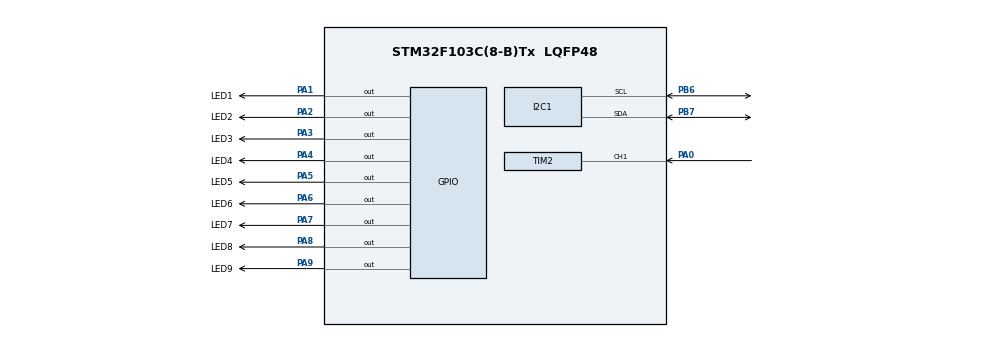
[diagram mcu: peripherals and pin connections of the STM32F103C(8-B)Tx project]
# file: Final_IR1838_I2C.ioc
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Mcu.Family=STM32F1
Mcu.Name=STM32F103C(8-B)Tx
Mcu.Package=LQFP48
NVIC.I2C1_ER_IRQn=true\:0\:0\:false\:false\:true\:true\:true\:true
NVIC.I2C1_EV_IRQn=true\:0\:0\:false\:false\:true\:true\:true\:true
NVIC.PriorityGroup=NVIC_PRIORITYGROUP_4
NVIC.TIM2_IRQn=true\:0\:0\:false\:false\:true\:true\:true\:true
PA0-WKUP.Signal=S_TIM2_CH1_ETR
PA1.GPIO_Label=LED1
PA1.Signal=GPIO_Output
PA13.Mode=Serial_Wire
PA13.Signal=SYS_JTMS-SWDIO
PA14.Mode=Serial_Wire
PA14.Signal=SYS_JTCK-SWCLK
PA2.GPIO_Label=LED2
PA2.Signal=GPIO_Output
PA3.GPIO_Label=LED3
PA3.Signal=GPIO_Output
PA4.GPIO_Label=LED4
PA4.GPIO_Speed=GPIO_SPEED_FREQ_LOW
PA4.Signal=GPIO_Output
PA5.GPIO_Label=LED5
PA5.Signal=GPIO_Output
PA6.GPIO_Label=LED6
PA6.Signal=GPIO_Output
PA7.GPIO_Label=LED7
PA7.Signal=GPIO_Output
PA8.GPIO_Label=LED8
PA8.Signal=GPIO_Output
PA9.GPIO_Label=LED9
PA9.Signal=GPIO_Output
PB6.Mode=I2C
PB6.Signal=I2C1_SCL
PB7.Mode=I2C
PB7.Signal=I2C1_SDA
PD0-OSC_IN.Mode=HSE-External-Oscillator
PD0-OSC_IN.Signal=RCC_OSC_IN
PD1-OSC_OUT.Mode=HSE-External-Oscillator
PD1-OSC_OUT.Signal=RCC_OSC_OUT
ProjectManager.HeapSize=0x200
ProjectManager.StackSize=0x400
ProjectManager.TargetToolchain=MDK-ARM V5.32
RCC.APB1Freq_Value=8000000
RCC.APB2Freq_Value=8000000
SH.S_TIM2_CH1_ETR.0=TIM2_CH1,Input_Capture1_from_TI1
TIM2.Channel-Input_Capture1_from_TI1=TIM_CHANNEL_1
TIM2.ICPolarity_CH1=TIM_INPUTCHANNELPOLARITY_FALLING
TIM2.Prescaler=799
board=custom

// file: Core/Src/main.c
/* USER CODE BEGIN Header */
/**
  ******************************************************************************
  * @file           : main.c
  * @brief          : Main program body
  ******************************************************************************
  * @attention
  *
  * Copyright (c) 2025 STMicroelectronics.
  * All rights reserved.
  *
  * This software is licensed under terms that can be found in the LICENSE file
  * in the root directory of this software component.
  * If no LICENSE file comes with this software, it is provided AS-IS.
  *
  ******************************************************************************
  */
/* USER CODE END Header */
#include "main.h"

/* USER CODE BEGIN Includes */
#include "CLCD_I2C.h"
#include <stdio.h>
#include <string.h>
/* USER CODE END Includes */

I2C_HandleTypeDef hi2c1;

TIM_HandleTypeDef htim2;

/* USER CODE BEGIN PV */
CLCD_I2C_Name LCD1;
uint8_t key_pre =0;
uint8_t key = 0;
char LCD_send;
char status[10];
/* USER CODE END PV */

void SystemClock_Config(void);
static void MX_GPIO_Init(void);
static void MX_I2C1_Init(void);
static void MX_TIM2_Init(void);
/* USER CODE BEGIN PFP */
#define START_MIN_TIME 130
#define START_MAX_TIME 140
#define COMMAND        17

volatile uint16_t time_pre = 0;
volatile uint16_t time_current = 0;
volatile uint16_t period = 0;
volatile uint8_t count = 0;
volatile uint32_t bit = 0;
volatile uint32_t hex_ir = 0;
/* USER CODE END PFP */

int main(void)
{

  /* MCU Configuration--------------------------------------------------------*/

  /* Reset of all peripherals, Initializes the Flash interface and the Systick. */
  HAL_Init();

  /* Configure the system clock */
  SystemClock_Config();

  /* Initialize all configured peripherals */
  MX_GPIO_Init();
  MX_I2C1_Init();
  MX_TIM2_Init();
  /* USER CODE BEGIN 2 */
HAL_TIM_IC_Start_IT(&htim2, TIM_CHANNEL_1);

CLCD_I2C_Init(&LCD1, &hi2c1, 0x4e, 20, 4);
CLCD_I2C_SetCursor(&LCD1, 0, 0);
CLCD_I2C_WriteString(&LCD1, "Diep Van Du");
  /* USER CODE END 2 */

  /* Infinite loop */
  while (1)
  {

    /* USER CODE BEGIN 3 */
	  //CLCD_I2C_Clear(&LCD1);
		CLCD_I2C_SetCursor(&LCD1, 0, 1);
		if(hex_ir != 0){
		  switch(hex_ir){
			   case 33448350: key = 1; break;
			   case 33436110: key = 2; break;
         case 33486090: key = 3; break;
			   case 33432030: key = 4; break;
			   case 33452430: key = 5; break;
			   case 33469770: key = 6; break;
			   case 33457530: key = 7; break;
			   case 33461610: key = 8; break;
			   case 33465690: key = 9; break;
			   case 33509550: if(key_pre < 9) key = key_pre + 1; break;
			   case 33538110: if(key_pre > 0) key = key_pre - 1; break;
				 case 33424890: key = 10; break;//next
				 case 33441210: key = 11; break;//prev
			   default: key = 0; break;
		}
		key_pre = key;
		static uint8_t last_key = 255;
    if (key != last_key)
    {
        last_key = key;
        CLCD_I2C_SetCursor(&LCD1,0, 1);
			  sprintf(&LCD_send, "%d", key);
        CLCD_I2C_WriteChar(&LCD1, LCD_send);
    }
		//HAL_Delay(200);
		hex_ir = 0;
 }

		//----------------------------------------------------------------------//
	if(key ==0 ){
	  HAL_GPIO_WritePin(LED1_GPIO_Port,LED1_Pin,GPIO_PIN_SET);
		HAL_GPIO_WritePin(LED2_GPIO_Port,LED2_Pin,GPIO_PIN_SET);
		HAL_GPIO_WritePin(LED3_GPIO_Port,LED3_Pin,GPIO_PIN_SET);
		HAL_GPIO_WritePin(LED4_GPIO_Port,LED4_Pin,GPIO_PIN_SET);
		HAL_GPIO_WritePin(LED5_GPIO_Port,LED5_Pin,GPIO_PIN_SET);
		HAL_GPIO_WritePin(LED6_GPIO_Port,LED6_Pin,GPIO_PIN_SET);
		HAL_GPIO_WritePin(LED7_GPIO_Port,LED7_Pin,GPIO_PIN_SET);
		HAL_GPIO_WritePin(LED8_GPIO_Port,LED8_Pin,GPIO_PIN_SET);
		HAL_GPIO_WritePin(LED9_GPIO_Port,LED9_Pin,GPIO_PIN_SET);
 }
 else{
	 if(key ==1){
		 HAL_GPIO_TogglePin(LED1_GPIO_Port,LED1_Pin);
	   HAL_Delay(100);
		 HAL_GPIO_WritePin(LED2_GPIO_Port,LED2_Pin,GPIO_PIN_SET);
		 HAL_GPIO_WritePin(LED3_GPIO_Port,LED3_Pin,GPIO_PIN_SET);
		 HAL_GPIO_WritePin(LED4_GPIO_Port,LED4_Pin,GPIO_PIN_SET);
		 HAL_GPIO_WritePin(LED5_GPIO_Port,LED5_Pin,GPIO_PIN_SET);
		 HAL_GPIO_WritePin(LED6_GPIO_Port,LED6_Pin,GPIO_PIN_SET);
		 HAL_GPIO_WritePin(LED7_GPIO_Port,LED7_Pin,GPIO_PIN_SET);
		 HAL_GPIO_WritePin(LED8_GPIO_Port,LED8_Pin,GPIO_PIN_SET);
		 HAL_GPIO_WritePin(LED9_GPIO_Port,LED9_Pin,GPIO_PIN_SET);
	 }
	 if(key ==2){
		 HAL_GPIO_TogglePin(LED2_GPIO_Port,LED2_Pin);
	   HAL_Delay(100);
		 HAL_GPIO_WritePin(LED1_GPIO_Port,LED1_Pin,GPIO_PIN_SET);
		 HAL_GPIO_WritePin(LED3_GPIO_Port,LED3_Pin,GPIO_PIN_SET);
		 HAL_GPIO_WritePin(LED4_GPIO_Port,LED4_Pin,GPIO_PIN_SET);
		 HAL_GPIO_WritePin(LED5_GPIO_Port,LED5_Pin,GPIO_PIN_SET);
		 HAL_GPIO_WritePin(LED6_GPIO_Port,LED6_Pin,GPIO_PIN_SET);
		 HAL_GPIO_WritePin(LED7_GPIO_Port,LED7_Pin,GPIO_PIN_SET);
		 HAL_GPIO_WritePin(LED8_GPIO_Port,LED8_Pin,GPIO_PIN_SET);
		 HAL_GPIO_WritePin(LED9_GPIO_Port,LED9_Pin,GPIO_PIN_SET);
	 }
	 if(key ==3){
		 HAL_GPIO_TogglePin(LED3_GPIO_Port,LED3_Pin);
	   HAL_Delay(100);
		 HAL_GPIO_WritePin(LED1_GPIO_Port,LED1_Pin,GPIO_PIN_SET);
		 HAL_GPIO_WritePin(LED2_GPIO_Port,LED2_Pin,GPIO_PIN_SET);
		 HAL_GPIO_WritePin(LED4_GPIO_Port,LED4_Pin,GPIO_PIN_SET);
		 HAL_GPIO_WritePin(LED5_GPIO_Port,LED5_Pin,GPIO_PIN_SET);
		 HAL_GPIO_WritePin(LED6_GPIO_Port,LED6_Pin,GPIO_PIN_SET);
		 HAL_GPIO_WritePin(LED7_GPIO_Port,LED7_Pin,GPIO_PIN_SET);
		 HAL_GPIO_WritePin(LED8_GPIO_Port,LED8_Pin,GPIO_PIN_SET);
		 HAL_GPIO_WritePin(LED9_GPIO_Port,LED9_Pin,GPIO_PIN_SET);
	 }
	 if(key ==4){
		 HAL_GPIO_TogglePin(LED4_GPIO_Port,LED4_Pin);
	   HAL_Delay(100);
		 HAL_GPIO_WritePin(LED1_GPIO_Port,LED1_Pin,GPIO_PIN_SET);
		 HAL_GPIO_WritePin(LED2_GPIO_Port,LED2_Pin,GPIO_PIN_SET);
		 HAL_GPIO_WritePin(LED3_GPIO_Port,LED3_Pin,GPIO_PIN_SET);
		 HAL_GPIO_WritePin(LED5_GPIO_Port,LED5_Pin,GPIO_PIN_SET);
		 HAL_GPIO_WritePin(LED6_GPIO_Port,LED6_Pin,GPIO_PIN_SET);
		 HAL_GPIO_WritePin(LED7_GPIO_Port,LED7_Pin,GPIO_PIN_SET);
		 HAL_GPIO_WritePin(LED8_GPIO_Port,LED8_Pin,GPIO_PIN_SET);
		 HAL_GPIO_WritePin(LED9_GPIO_Port,LED9_Pin,GPIO_PIN_SET);
	 }
	 if(key ==5){
		 HAL_GPIO_TogglePin(LED5_GPIO_Port,LED5_Pin);
	   HAL_Delay(100);
		 HAL_GPIO_WritePin(LED1_GPIO_Port,LED1_Pin,GPIO_PIN_SET);
		 HAL_GPIO_WritePin(LED2_GPIO_Port,LED2_Pin,GPIO_PIN_SET);
		 HAL_GPIO_WritePin(LED3_GPIO_Port,LED3_Pin,GPIO_PIN_SET);
		 HAL_GPIO_WritePin(LED4_GPIO_Port,LED4_Pin,GPIO_PIN_SET);
		 HAL_GPIO_WritePin(LED6_GPIO_Port,LED6_Pin,GPIO_PIN_SET);
		 HAL_GPIO_WritePin(LED7_GPIO_Port,LED7_Pin,GPIO_PIN_SET);
		 HAL_GPIO_WritePin(LED8_GPIO_Port,LED8_Pin,GPIO_PIN_SET);
		 HAL_GPIO_WritePin(LED9_GPIO_Port,LED9_Pin,GPIO_PIN_SET);
	 }
	 if(key ==6){
		 HAL_GPIO_TogglePin(LED6_GPIO_Port,LED6_Pin);
	   HAL_Delay(100);
		 HAL_GPIO_WritePin(LED1_GPIO_Port,LED1_Pin,GPIO_PIN_SET);
	   HAL_GPIO_WritePin(LED2_GPIO_Port,LED2_Pin,GPIO_PIN_SET);
	   HAL_GPIO_WritePin(LED3_GPIO_Port,LED3_Pin,GPIO_PIN_SET);
	   HAL_GPIO_WritePin(LED4_GPIO_Port,LED4_Pin,GPIO_PIN_SET);
	   HAL_GPIO_WritePin(LED5_GPIO_Port,LED5_Pin,GPIO_PIN_SET);
	   HAL_GPIO_WritePin(LED7_GPIO_Port,LED7_Pin,GPIO_PIN_SET);
	   HAL_GPIO_WritePin(LED8_GPIO_Port,LED8_Pin,GPIO_PIN_SET);
	   HAL_GPIO_WritePin(LED9_GPIO_Port,LED9_Pin,GPIO_PIN_SET);
	 }
	 if(key ==7){
		 HAL_GPIO_TogglePin(LED7_GPIO_Port,LED7_Pin);
	   HAL_Delay(100);
		 HAL_GPIO_WritePin(LED1_GPIO_Port,LED1_Pin,GPIO_PIN_SET);
		 HAL_GPIO_WritePin(LED2_GPIO_Port,LED2_Pin,GPIO_PIN_SET);
		 HAL_GPIO_WritePin(LED3_GPIO_Port,LED3_Pin,GPIO_PIN_SET);
		 HAL_GPIO_WritePin(LED4_GPIO_Port,LED4_Pin,GPIO_PIN_SET);
		 HAL_GPIO_WritePin(LED5_GPIO_Port,LED5_Pin,GPIO_PIN_SET);
		 HAL_GPIO_WritePin(LED6_GPIO_Port,LED6_Pin,GPIO_PIN_SET);
		 HAL_GPIO_WritePin(LED8_GPIO_Port,LED8_Pin,GPIO_PIN_SET);
		 HAL_GPIO_WritePin(LED9_GPIO_Port,LED9_Pin,GPIO_PIN_SET);
	 }
	 if(key ==8){
		 HAL_GPIO_TogglePin(LED8_GPIO_Port,LED8_Pin);
	   HAL_Delay(100);
		 HAL_GPIO_WritePin(LED1_GPIO_Port,LED1_Pin,GPIO_PIN_SET);
	   HAL_GPIO_WritePin(LED2_GPIO_Port,LED2_Pin,GPIO_PIN_SET);
	   HAL_GPIO_WritePin(LED3_GPIO_Port,LED3_Pin,GPIO_PIN_SET);
	   HAL_GPIO_WritePin(LED4_GPIO_Port,LED4_Pin,GPIO_PIN_SET);
	   HAL_GPIO_WritePin(LED5_GPIO_Port,LED5_Pin,GPIO_PIN_SET);
	   HAL_GPIO_WritePin(LED6_GPIO_Port,LED6_Pin,GPIO_PIN_SET);
	   HAL_GPIO_WritePin(LED7_GPIO_Port,LED7_Pin,GPIO_PIN_SET);
	   HAL_GPIO_WritePin(LED9_GPIO_Port,LED9_Pin,GPIO_PIN_SET);
	 }
	 if(key ==9){
		 HAL_GPIO_TogglePin(LED9_GPIO_Port,LED9_Pin);
	   HAL_Delay(100);
		 HAL_GPIO_WritePin(LED1_GPIO_Port,LED1_Pin,GPIO_PIN_SET);
		 HAL_GPIO_WritePin(LED2_GPIO_Port,LED2_Pin,GPIO_PIN_SET);
		 HAL_GPIO_WritePin(LED3_GPIO_Port,LED3_Pin,GPIO_PIN_SET);
		 HAL_GPIO_WritePin(LED4_GPIO_Port,LED4_Pin,GPIO_PIN_SET);
		 HAL_GPIO_WritePin(LED5_GPIO_Port,LED5_Pin,GPIO_PIN_SET);
		 HAL_GPIO_WritePin(LED6_GPIO_Port,LED6_Pin,GPIO_PIN_SET);
		 HAL_GPIO_WritePin(LED7_GPIO_Port,LED7_Pin,GPIO_PIN_SET);
		 HAL_GPIO_WritePin(LED8_GPIO_Port,LED8_Pin,GPIO_PIN_SET);
	 }
	 if(key ==10){
		 HAL_GPIO_WritePin(LED1_GPIO_Port,LED1_Pin,GPIO_PIN_RESET);
		 HAL_Delay(100);
		 HAL_GPIO_WritePin(LED2_GPIO_Port,LED2_Pin,GPIO_PIN_RESET);
		 HAL_Delay(100);
		 HAL_GPIO_WritePin(LED3_GPIO_Port,LED3_Pin,GPIO_PIN_RESET);
		 HAL_Delay(100);
		 HAL_GPIO_WritePin(LED4_GPIO_Port,LED4_Pin,GPIO_PIN_RESET);
		 HAL_Delay(100);
		 HAL_GPIO_WritePin(LED5_GPIO_Port,LED5_Pin,GPIO_PIN_RESET);
		 HAL_Delay(100);
		 HAL_GPIO_WritePin(LED6_GPIO_Port,LED6_Pin,GPIO_PIN_RESET);
		 HAL_Delay(100);
		 HAL_GPIO_WritePin(LED7_GPIO_Port,LED7_Pin,GPIO_PIN_RESET);
		 HAL_Delay(100);
		 HAL_GPIO_WritePin(LED8_GPIO_Port,LED8_Pin,GPIO_PIN_RESET);
		 HAL_Delay(100);
		 HAL_GPIO_WritePin(LED9_GPIO_Port,LED9_Pin,GPIO_PIN_RESET);
		 HAL_Delay(100);
		 HAL_GPIO_WritePin(LED1_GPIO_Port,LED1_Pin,GPIO_PIN_SET);
		 HAL_GPIO_WritePin(LED2_GPIO_Port,LED2_Pin,GPIO_PIN_SET);
		 HAL_GPIO_WritePin(LED3_GPIO_Port,LED3_Pin,GPIO_PIN_SET);
		 HAL_GPIO_WritePin(LED4_GPIO_Port,LED4_Pin,GPIO_PIN_SET);
		 HAL_GPIO_WritePin(LED5_GPIO_Port,LED5_Pin,GPIO_PIN_SET);
		 HAL_GPIO_WritePin(LED6_GPIO_Port,LED6_Pin,GPIO_PIN_SET);
		 HAL_GPIO_WritePin(LED7_GPIO_Port,LED7_Pin,GPIO_PIN_SET);
		 HAL_GPIO_WritePin(LED8_GPIO_Port,LED8_Pin,GPIO_PIN_SET);
		 HAL_GPIO_WritePin(LED9_GPIO_Port,LED9_Pin,GPIO_PIN_SET);
   }
	 if(key ==11){
		 HAL_GPIO_WritePin(LED9_GPIO_Port,LED9_Pin,GPIO_PIN_RESET);
		 HAL_Delay(100);
		 HAL_GPIO_WritePin(LED8_GPIO_Port,LED8_Pin,GPIO_PIN_RESET);
		 HAL_Delay(100);
		 HAL_GPIO_WritePin(LED7_GPIO_Port,LED7_Pin,GPIO_PIN_RESET);
		 HAL_Delay(100);
		 HAL_GPIO_WritePin(LED6_GPIO_Port,LED6_Pin,GPIO_PIN_RESET);
		 HAL_Delay(100);
		 HAL_GPIO_WritePin(LED5_GPIO_Port,LED5_Pin,GPIO_PIN_RESET);
		 HAL_Delay(100);
		 HAL_GPIO_WritePin(LED4_GPIO_Port,LED4_Pin,GPIO_PIN_RESET);
		 HAL_Delay(100);
		 HAL_GPIO_WritePin(LED3_GPIO_Port,LED3_Pin,GPIO_PIN_RESET);
		 HAL_Delay(100);
		 HAL_GPIO_WritePin(LED2_GPIO_Port,LED2_Pin,GPIO_PIN_RESET);
		 HAL_Delay(100);
		 HAL_GPIO_WritePin(LED1_GPIO_Port,LED1_Pin,GPIO_PIN_RESET);
		 HAL_Delay(100);
		 HAL_GPIO_WritePin(LED1_GPIO_Port,LED1_Pin,GPIO_PIN_SET);
	   HAL_GPIO_WritePin(LED2_GPIO_Port,LED2_Pin,GPIO_PIN_SET);
	   HAL_GPIO_WritePin(LED3_GPIO_Port,LED3_Pin,GPIO_PIN_SET);
	   HAL_GPIO_WritePin(LED4_GPIO_Port,LED4_Pin,GPIO_PIN_SET);
	   HAL_GPIO_WritePin(LED5_GPIO_Port,LED5_Pin,GPIO_PIN_SET);
	   HAL_GPIO_WritePin(LED6_GPIO_Port,LED6_Pin,GPIO_PIN_SET);
	   HAL_GPIO_WritePin(LED7_GPIO_Port,LED7_Pin,GPIO_PIN_SET);
	   HAL_GPIO_WritePin(LED8_GPIO_Port,LED8_Pin,GPIO_PIN_SET);
	   HAL_GPIO_WritePin(LED9_GPIO_Port,LED9_Pin,GPIO_PIN_SET);
   }
  }
  /* USER CODE END 3 */
 }
}
void SystemClock_Config(void)
{
  RCC_OscInitTypeDef RCC_OscInitStruct = {0};
  RCC_ClkInitTypeDef RCC_ClkInitStruct = {0};

  /** Initializes the RCC Oscillators according to the specified parameters
  * in the RCC_OscInitTypeDef structure.
  */
  RCC_OscInitStruct.OscillatorType = RCC_OSCILLATORTYPE_HSI;
  RCC_OscInitStruct.HSIState = RCC_HSI_ON;
  RCC_OscInitStruct.HSICalibrationValue = RCC_HSICALIBRATION_DEFAULT;
  RCC_OscInitStruct.PLL.PLLState = RCC_PLL_NONE;
  if (HAL_RCC_OscConfig(&RCC_OscInitStruct) != HAL_OK)
  {
    Error_Handler();
  }

  /** Initializes the CPU, AHB and APB buses clocks
  */
  RCC_ClkInitStruct.ClockType = RCC_CLOCKTYPE_HCLK|RCC_CLOCKTYPE_SYSCLK
                              |RCC_CLOCKTYPE_PCLK1|RCC_CLOCKTYPE_PCLK2;
  RCC_ClkInitStruct.SYSCLKSource = RCC_SYSCLKSOURCE_HSI;
  RCC_ClkInitStruct.AHBCLKDivider = RCC_SYSCLK_DIV1;
  RCC_ClkInitStruct.APB1CLKDivider = RCC_HCLK_DIV1;
  RCC_ClkInitStruct.APB2CLKDivider = RCC_HCLK_DIV1;

  if (HAL_RCC_ClockConfig(&RCC_ClkInitStruct, FLASH_LATENCY_0) != HAL_OK)
  {
    Error_Handler();
  }
}

static void MX_I2C1_Init(void)
{

  hi2c1.Instance = I2C1;
  hi2c1.Init.ClockSpeed = 100000;
  hi2c1.Init.DutyCycle = I2C_DUTYCYCLE_2;
  hi2c1.Init.OwnAddress1 = 0;
  hi2c1.Init.AddressingMode = I2C_ADDRESSINGMODE_7BIT;
  hi2c1.Init.DualAddressMode = I2C_DUALADDRESS_DISABLE;
  hi2c1.Init.OwnAddress2 = 0;
  hi2c1.Init.GeneralCallMode = I2C_GENERALCALL_DISABLE;
  hi2c1.Init.NoStretchMode = I2C_NOSTRETCH_DISABLE;
  if (HAL_I2C_Init(&hi2c1) != HAL_OK)
  {
    Error_Handler();
  }

}

static void MX_TIM2_Init(void)
{

  TIM_MasterConfigTypeDef sMasterConfig = {0};
  TIM_IC_InitTypeDef sConfigIC = {0};

  htim2.Instance = TIM2;
  htim2.Init.Prescaler = 799;
  htim2.Init.CounterMode = TIM_COUNTERMODE_UP;
  htim2.Init.Period = 65535;
  htim2.Init.ClockDivision = TIM_CLOCKDIVISION_DIV1;
  htim2.Init.AutoReloadPreload = TIM_AUTORELOAD_PRELOAD_DISABLE;
  if (HAL_TIM_IC_Init(&htim2) != HAL_OK)
  {
    Error_Handler();
  }
  sMasterConfig.MasterOutputTrigger = TIM_TRGO_RESET;
  sMasterConfig.MasterSlaveMode = TIM_MASTERSLAVEMODE_DISABLE;
  if (HAL_TIMEx_MasterConfigSynchronization(&htim2, &sMasterConfig) != HAL_OK)
  {
    Error_Handler();
  }
  sConfigIC.ICPolarity = TIM_INPUTCHANNELPOLARITY_FALLING;
  sConfigIC.ICSelection = TIM_ICSELECTION_DIRECTTI;
  sConfigIC.ICPrescaler = TIM_ICPSC_DIV1;
  sConfigIC.ICFilter = 0;
  if (HAL_TIM_IC_ConfigChannel(&htim2, &sConfigIC, TIM_CHANNEL_1) != HAL_OK)
  {
    Error_Handler();
  }

}

static void MX_GPIO_Init(void)
{
  GPIO_InitTypeDef GPIO_InitStruct = {0};

  /* GPIO Ports Clock Enable */
  __HAL_RCC_GPIOD_CLK_ENABLE();
  __HAL_RCC_GPIOA_CLK_ENABLE();
  __HAL_RCC_GPIOB_CLK_ENABLE();

  /*Configure GPIO pin Output Level */
  HAL_GPIO_WritePin(GPIOA, LED1_Pin|LED2_Pin|LED3_Pin|LED4_Pin
                          |LED5_Pin|LED6_Pin|LED7_Pin|LED8_Pin
                          |LED9_Pin, GPIO_PIN_RESET);

  /*Configure GPIO pins : LED1_Pin LED2_Pin LED3_Pin LED4_Pin
                           LED5_Pin LED6_Pin LED7_Pin LED8_Pin
                           LED9_Pin */
  GPIO_InitStruct.Pin = LED1_Pin|LED2_Pin|LED3_Pin|LED4_Pin
                          |LED5_Pin|LED6_Pin|LED7_Pin|LED8_Pin
                          |LED9_Pin;
  GPIO_InitStruct.Mode = GPIO_MODE_OUTPUT_PP;
  GPIO_InitStruct.Pull = GPIO_NOPULL;
  GPIO_InitStruct.Speed = GPIO_SPEED_FREQ_LOW;
  HAL_GPIO_Init(GPIOA, &GPIO_InitStruct);

}

/* USER CODE BEGIN 4 */
void HAL_TIM_IC_CaptureCallback(TIM_HandleTypeDef *htim){
  time_current = HAL_TIM_ReadCapturedValue(&htim2, TIM_CHANNEL_1);
	period = time_current - time_pre;
	time_pre = time_current;
	if(period > START_MIN_TIME && period < START_MAX_TIME){
	  hex_ir = 0;
	  count = 0;
	  bit = 0;
	}
	else if(period > COMMAND){
	  bit = bit | 0x01;
		bit = bit << 1;
		count++;
	}
	else if(period < COMMAND){
	  bit = bit << 1;
		count++;
	}
	if(count == 32){
	  hex_ir =  bit;
		//count = 0;
	}
}
/* USER CODE END 4 */

void Error_Handler(void)
{
  __disable_irq();
  while (1)
  {
  }
}
